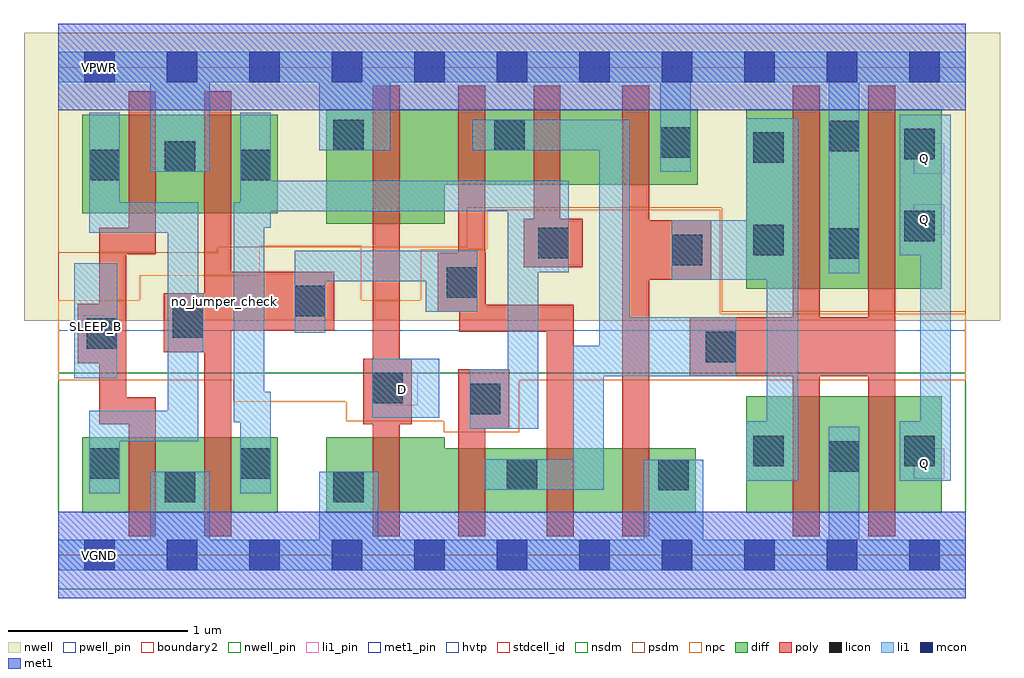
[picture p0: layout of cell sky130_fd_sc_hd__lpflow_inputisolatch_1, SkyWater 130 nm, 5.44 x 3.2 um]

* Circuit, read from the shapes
.subckt sky130_fd_sc_hd__lpflow_inputisolatch_1 D Q SLEEP_B VGND VNB VPB VPWR
XM1 VGND SLEEP_B n1 VNB sky130_fd_pr__nfet_01v8 w=0.42 l=0.15
XM2 n2 n1 VGND VNB sky130_fd_pr__nfet_01v8 w=0.42 l=0.15
XM3 n3 D VGND VNB sky130_fd_pr__nfet_01v8 w=0.42 l=0.15
XM4 n4 n2 n3 VNB sky130_fd_pr__nfet_01v8 w=0.36 l=0.15
XM5 n5 n1 n4 VNB sky130_fd_pr__nfet_01v8 w=0.36 l=0.15
XM6 VGND n6 n5 VNB sky130_fd_pr__nfet_01v8 w=0.36 l=0.15
XM7 VGND n4 n6 VNB sky130_fd_pr__nfet_01v8 w=0.65 l=0.15
XM8 Q n4 VGND VNB sky130_fd_pr__nfet_01v8 w=0.65 l=0.15
XM9 VPWR SLEEP_B n1 VPB sky130_fd_pr__pfet_01v8_hvt w=0.55 l=0.15
XM10 n2 n1 VPWR VPB sky130_fd_pr__pfet_01v8_hvt w=0.55 l=0.15
XM11 n7 D VPWR VPB sky130_fd_pr__pfet_01v8_hvt w=0.64 l=0.15
XM12 n4 n1 n7 VPB sky130_fd_pr__pfet_01v8_hvt w=0.42 l=0.15
XM13 n8 n2 n4 VPB sky130_fd_pr__pfet_01v8_hvt w=0.42 l=0.15
XM14 VPWR n6 n8 VPB sky130_fd_pr__pfet_01v8_hvt w=0.42 l=0.15
XM15 VPWR n4 n6 VPB sky130_fd_pr__pfet_01v8_hvt w=1 l=0.15
XM16 Q n4 VPWR VPB sky130_fd_pr__pfet_01v8_hvt w=1 l=0.15
.ends

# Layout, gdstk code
import gdstk
lib = gdstk.Library(unit=1e-6, precision=1e-09)
def R(c, l, rs):  # rectangles x0, y0, x1, y1
    for r in rs: c.add(gdstk.rectangle(r[:2], r[2:], *l))
def A(c, l, x, y, w, h, nx, ny, dx, dy):  # array of equal rectangles
    R(c, l, [(x+i*dx, y+j*dy, x+i*dx+w, y+j*dy+h) for i in range(nx) for j in range(ny)])
def P(c, l, *ps):  # polygons
    for p in ps: c.add(gdstk.Polygon(p, *l))
nwell_pin = (64, 16)
nwell = (64, 20)
diff = (65, 20)
poly = (66, 20)
licon = (66, 44)
li1_pin = (67, 16)
li1 = (67, 20)
mcon = (67, 44)
met1_pin = (68, 16)
met1 = (68, 20)
hvtp = (78, 44)
stdcell_id = (81, 4)
nsdm = (93, 44)
psdm = (94, 20)
npc = (95, 20)
pwell_pin = (122, 16)
boundary2 = (236, 0)

sky130_fd_sc_hd__lpflow_ = lib.new_cell('sky130_fd_sc_hd__lpflow_inputisolatch_1')
R(sky130_fd_sc_hd__lpflow_, nwell_pin, [(0.145,2.635,0.315,2.805), (0.145,2.635,0.315,2.805)])
R(sky130_fd_sc_hd__lpflow_, nwell, [(-0.19,1.305,5.25,2.91)])
R(sky130_fd_sc_hd__lpflow_, diff, [(0.135,0.235,1.225,0.655), (3.835,0.235,4.925,0.885), (3.835,1.485,4.925,2.485), (0.135,1.905,1.225,2.455)])
P(sky130_fd_sc_hd__lpflow_, diff, [(3.555,0.595),(2.155,0.595),(2.155,0.655),(1.495,0.655),(1.495,0.235),(3.555,0.235)],
  [(3.565,2.485),(1.495,2.485),(1.495,1.845),(2.155,1.845),(2.155,2.065),(3.565,2.065)])
R(sky130_fd_sc_hd__lpflow_, poly, [(2.23,0.105,2.38,0.705), (2.23,0.705,2.515,1.035), (0.815,1.25,1.54,1.58), (2.595,1.605,2.925,1.875), (2.23,1.665,2.38,2.615), (2.65,1.855,2.8,2.615)])
P(sky130_fd_sc_hd__lpflow_, poly, [(4.665,2.615),(4.515,2.615),(4.515,1.325),(4.23,1.325),(4.23,0.995),(4.515,0.995),(4.515,0.105),(4.665,0.105)],
  [(4.245,2.615),(4.095,2.615),(4.095,1.325),(3.52,1.325),(3.52,0.995),(4.095,0.995),(4.095,0.105),(4.245,0.105)],
  [(3.64,1.865),(3.295,1.865),(3.295,2.615),(3.145,2.615),(3.145,0.105),(3.295,0.105),(3.295,1.535),(3.64,1.535)],
  [(2.875,1.395),(2.385,1.395),(2.385,1.685),(2.115,1.685),(2.115,1.355),(2.235,1.355),(2.235,1.245),(2.725,1.245),(2.725,0.105),(2.875,0.105)],
  [(1.97,1.095),(1.905,1.095),(1.905,2.615),(1.755,2.615),(1.755,1.095),(1.7,1.095),(1.7,0.73),(1.755,0.73),(1.755,0.105),(1.905,0.105),(1.905,0.73),(1.97,0.73)],
  [(0.965,2.585),(0.815,2.585),(0.815,1.46),(0.59,1.46),(0.59,1.13),(0.815,1.13),(0.815,0.105),(0.965,0.105)],
  [(0.545,0.88),(0.38,0.88),(0.38,1.675),(0.545,1.675),(0.545,2.585),(0.395,2.585),(0.395,1.825),(0.23,1.825),(0.23,1.4),(0.11,1.4),(0.11,1.07),(0.23,1.07),(0.23,0.73),(0.395,0.73),(0.395,0.105),(0.545,0.105)])
R(sky130_fd_sc_hd__lpflow_, licon, [(0.595,0.295,0.765,0.465), (1.535,0.295,1.705,0.465), (3.345,0.36,3.515,0.53), (2.5,0.365,2.67,0.535), (0.175,0.425,0.345,0.595), (1.015,0.425,1.185,0.595), (4.295,0.465,4.465,0.635), (3.875,0.495,4.045,0.665), (4.715,0.495,4.885,0.665), (2.295,0.785,2.465,0.955), (1.75,0.845,1.92,1.015), (3.61,1.075,3.78,1.245), (0.16,1.15,0.33,1.32), (0.64,1.21,0.81,1.38), (1.32,1.33,1.49,1.5), (2.165,1.435,2.335,1.605), (3.42,1.615,3.59,1.785), (4.295,1.65,4.465,1.82), (2.675,1.655,2.845,1.825), (3.875,1.67,4.045,1.84), (4.715,1.75,4.885,1.92), (0.175,2.09,0.345,2.26), (1.015,2.09,1.185,2.26), (0.595,2.135,0.765,2.305), (3.875,2.185,4.045,2.355), (4.715,2.205,4.885,2.375), (3.355,2.215,3.525,2.385), (4.295,2.25,4.465,2.42), (1.535,2.255,1.705,2.425), (2.43,2.255,2.6,2.425)])
R(sky130_fd_sc_hd__lpflow_, li1_pin, [(4.77,0.425,4.94,0.595), (1.83,0.835,2.005,1.015), (0.14,1.22,0.275,1.335), (4.77,1.785,4.94,1.955), (4.77,2.125,4.94,2.295)])
R(sky130_fd_sc_hd__lpflow_, li1, [(0,-0.085,5.06,0.085), (0.515,0,0.845,0.465), (1.455,0.04,1.785,0.465), (3.265,0.04,3.595,0.53), (4.295,0.05,4.465,0.715), (1.75,0.765,2.125,1.095), (0.09,0.985,0.33,1.625), (2.05,1.355,2.335,1.685), (4.295,1.57,4.465,2.65), (0.515,2.135,0.845,2.67), (3.355,2.135,3.525,2.745), (1.455,2.255,1.85,2.72), (0,2.635,5.06,2.805)])
P(sky130_fd_sc_hd__lpflow_, li1, [(0.81,1.46),(0.78,1.46),(0.78,1.965),(0.345,1.965),(0.345,2.465),(0.175,2.465),(0.175,1.795),(0.61,1.795),(0.61,0.805),(0.175,0.805),(0.175,0.345),(0.345,0.345),(0.345,0.635),(0.78,0.635),(0.78,1.13),(0.81,1.13)],
  [(4.975,2.455),(4.69,2.455),(4.69,1.67),(4.805,1.67),(4.805,0.745),(4.69,0.745),(4.69,0.415),(4.975,0.415)],
  [(4.125,2.435),(3.835,2.435),(3.835,1.865),(3.42,1.865),(3.42,1.535),(3.95,1.535),(3.95,0.745),(3.835,0.745),(3.835,0.415),(4.125,0.415)],
  [(3.78,1.325),(3.185,1.325),(3.185,2.425),(2.31,2.425),(2.31,2.255),(3.015,2.255),(3.015,1.165),(2.87,1.165),(2.87,0.535),(2.38,0.535),(2.38,0.365),(3.04,0.365),(3.04,0.995),(3.78,0.995)],
  [(2.845,2.085),(1.015,2.085),(1.015,1.915),(2.505,1.915),(2.505,1.035),(2.295,1.035),(2.295,0.705),(2.675,0.705),(2.675,1.575),(2.845,1.575)],
  [(1.185,0.91),(1.15,0.91),(1.15,1.825),(1.185,1.825),(1.185,2.465),(1.015,2.465),(1.015,1.965),(0.98,1.965),(0.98,0.74),(1.015,0.74),(1.015,0.345),(1.185,0.345)],
  [(2.335,1.695),(1.32,1.695),(1.32,1.24),(1.49,1.24),(1.49,1.525),(2.335,1.525)])
A(sky130_fd_sc_hd__lpflow_, mcon, 0.145, -0.085, 0.17, 0.17, 11, 2, 0.46, 2.72)
R(sky130_fd_sc_hd__lpflow_, met1_pin, [(0.145,-0.085,0.315,0.085), (0.145,2.635,0.315,2.805)])
R(sky130_fd_sc_hd__lpflow_, met1, [(0,-0.24,5.06,0.24), (0,2.48,5.06,2.96)])
R(sky130_fd_sc_hd__lpflow_, hvtp, [(0,1.25,5.06,2.72)])
R(sky130_fd_sc_hd__lpflow_, stdcell_id, [(0,0,5.06,2.72)])
R(sky130_fd_sc_hd__lpflow_, nsdm, [(0,-0.19,5.06,1.015)])
P(sky130_fd_sc_hd__lpflow_, psdm, [(5.06,2.91),(0,2.91),(0,1.685),(0.89,1.685),(0.89,1.715),(2.28,1.715),(2.28,1.935),(3.7,1.935),(3.7,1.355),(5.06,1.355)])
P(sky130_fd_sc_hd__lpflow_, npc, [(5.06,1.345),(3.69,1.345),(3.69,1.925),(2.39,1.925),(2.39,1.705),(2.02,1.705),(2.02,1.42),(1.69,1.42),(1.69,1.725),(1.12,1.725),(1.12,1.56),(0.455,1.56),(0.455,1.42),(0,1.42),(0,0.975),(0.975,0.975),(0.975,0.855),(1.605,0.855),(1.605,0.745),(2.15,0.745),(2.15,0.685),(2.57,0.685),(2.57,0.975),(5.06,0.975)])
R(sky130_fd_sc_hd__lpflow_, pwell_pin, [(0.145,-0.085,0.315,0.085), (0.145,-0.085,0.315,0.085)])
R(sky130_fd_sc_hd__lpflow_, boundary2, [(0,0,5.06,2.72)])
sky130_fd_sc_hd__lpflow_.add(gdstk.Label('SLEEP_B', (0.21,1.275), layer=67, texttype=5))
sky130_fd_sc_hd__lpflow_.add(gdstk.Label('D', (1.92,0.925), layer=67, texttype=5))
sky130_fd_sc_hd__lpflow_.add(gdstk.Label('Q', (4.83,1.87), layer=67, texttype=5))
sky130_fd_sc_hd__lpflow_.add(gdstk.Label('Q', (4.83,2.21), layer=67, texttype=5))
sky130_fd_sc_hd__lpflow_.add(gdstk.Label('Q', (4.83,0.51), layer=67, texttype=5))
sky130_fd_sc_hd__lpflow_.add(gdstk.Label('VGND', (0.23,0), layer=68, texttype=5))
sky130_fd_sc_hd__lpflow_.add(gdstk.Label('VPWR', (0.23,2.72), layer=68, texttype=5))
sky130_fd_sc_hd__lpflow_.add(gdstk.Label('VPB', (0.23,2.72), layer=64, texttype=5))
sky130_fd_sc_hd__lpflow_.add(gdstk.Label('VPB', (0.23,2.72), layer=64, texttype=5))
sky130_fd_sc_hd__lpflow_.add(gdstk.Label('VNB', (0.23,0), layer=64, texttype=59))
sky130_fd_sc_hd__lpflow_.add(gdstk.Label('VNB', (0.23,0), layer=64, texttype=59))
sky130_fd_sc_hd__lpflow_.add(gdstk.Label('lpflow_inputisolatch_1', (0,0), layer=83, texttype=44))
sky130_fd_sc_hd__lpflow_.add(gdstk.Label('no_jumper_check', (0.925,1.415), layer=83, texttype=44))

lib.write_gds('sky130_fd_sc_hd__lpflow_inputisolatch_1.gds')
